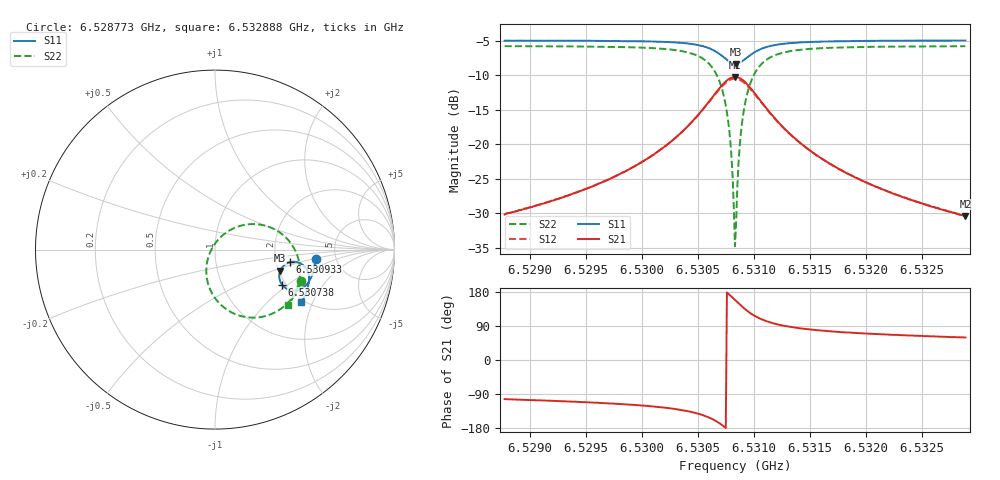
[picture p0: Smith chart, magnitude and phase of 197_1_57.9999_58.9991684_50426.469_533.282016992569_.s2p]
#  HZ  S  RI  R  50.00
! Rohde & Schwarz Vector Network Analyzer
! Rohde-Schwarz,ZNB20-2Port,1311601062101988,3.16
! Created: UTC 3/21/2024, 12:59:04 AM
! freq[Hz]  re:S11  im:S11  re:S21  im:S21  re:S12  im:S12  re:S22  im:S22
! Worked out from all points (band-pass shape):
!   401 points, 6.528773 GHz to 6.532888 GHz, reference 50 ohm
!   highest |S21| = -10.25 dB at 6.530831 GHz (marker M1); lowest = -30.4 dB at 6.532888 GHz (marker M2)
!   |S21| within 3 dB of the highest: 6.530625 GHz to 6.531037 GHz (411.7 kHz wide, 0.0063 % of centre)
!   lowest |S11| = -8.4 dB at 6.530841 GHz (marker M3), VSWR 2.24, Z = 102 - j28.1 ohm
!   |S11| at or under -10 dB: nowhere
!   |S22| runs from -34.8 to -5.8 dB; largest |S21 - S12| = 0.012
!   S11 on the Smith chart (normalised r, x): 6.528773 GHz: 3.49, -0.51; 6.530738 GHz: 1.91, -0.91; 6.530933 GHz: 2.37, -0.41; 6.532888 GHz: 1.92, -1.66
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6.5287731e9  0.5604 -0.0499  -0.00705 -0.0302  -0.00783 -0.0302  0.4818 -0.1773
6.5294624e9  0.5512 -0.1074  -0.0165 -0.0432  -0.0176 -0.0429  0.45 -0.2409
6.5301516e9  0.5242 -0.1766  -0.0503 -0.074  -0.0524 -0.0728  0.3672 -0.3297
6.5303882e9  0.4976 -0.2071  -0.0901 -0.0938  -0.0928 -0.0906  0.286 -0.3688
6.5305631e9  0.4541 -0.2271  -0.1583 -0.1002  -0.1608 -0.0938  0.1596 -0.3738
6.530666e9  0.409 -0.2225  -0.2281 -0.0739  -0.2273 -0.0641  0.0427 -0.3165
6.530738e9  0.3737 -0.1954  -0.2795 -0.0153  -0.2736 -0.00513  -0.0328 -0.2076
6.5307792e9  0.3603 -0.1674  -0.2956 0.0377  -0.2864 0.0461  -0.0486 -0.1168
6.5307895e9  0.3585 -0.1595  -0.2964 0.0527  -0.2867 0.0603  -0.0474 -0.0922
6.5308203e9  0.3589 -0.134  -0.2906 0.0985  -0.2796 0.1032  -0.0287 -0.0185
6.5308306e9  0.3609 -0.1257  -0.2857 0.1134  -0.2746 0.117  -0.0177 0.00459
6.5308409e9  0.3635 -0.1175  -0.2791 0.1278  -0.268 0.1304  -0.00445 0.0269
6.5308512e9  0.3671 -0.1097  -0.2714 0.1412  -0.2603 0.1429  0.0108 0.0474
6.5308718e9  0.3766 -0.0958  -0.2524 0.1653  -0.242 0.1652  0.0467 0.0832
6.530882e9  0.3825 -0.0896  -0.2412 0.1755  -0.2314 0.1747  0.0665 0.0979
6.5309026e9  0.395 -0.0799  -0.2179 0.1923  -0.209 0.1903  0.1083 0.1209
6.5309335e9  0.4154 -0.0707  -0.181 0.2077  -0.174 0.2046  0.1722 0.1392
6.5310055e9  0.4584 -0.0701  -0.1053 0.2098  -0.1019 0.2066  0.2987 0.1273
6.5311084e9  0.4963 -0.0919  -0.0405 0.1787  -0.0388 0.1771  0.403 0.0589
6.5315199e9  0.5241 -0.1713  0.0153 0.0864  0.0165 0.0861  0.4733 -0.1341
6.5322091e9  0.5068 -0.2427  0.0177 0.0415  0.0184 0.0413  0.4438 -0.25
6.5328881e9  0.4817 -0.2944  0.0155 0.026  0.016 0.0259  0.4088 -0.3099
